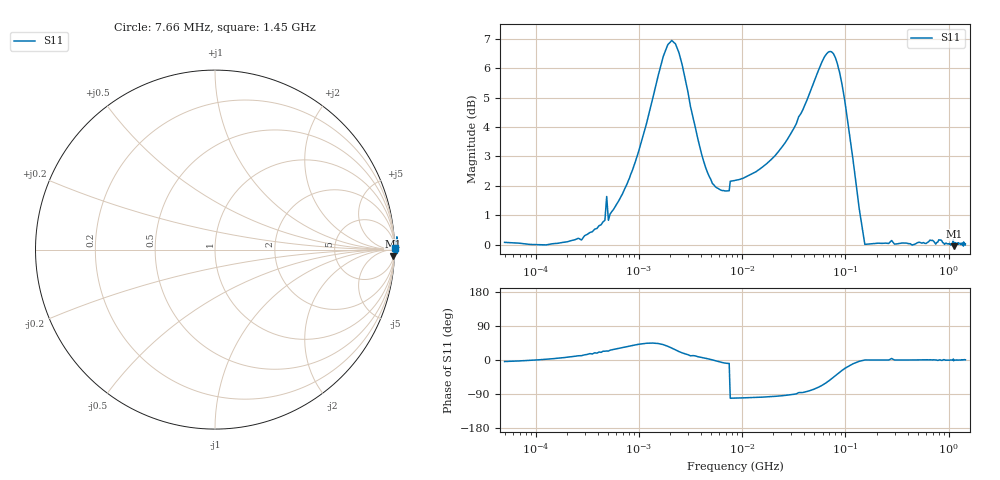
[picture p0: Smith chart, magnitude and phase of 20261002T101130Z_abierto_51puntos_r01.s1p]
! piloto_saltos / abierto_51puntos / r01
# HZ S RI R 50
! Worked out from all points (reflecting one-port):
!   251 points, 50 kHz to 1.45 GHz, reference 50 ohm
!   lowest |S11| = -0.1 dB at 1.117 GHz (marker M1), VSWR 337.44, Z = 465 - j2.76e+03 ohm
!   phase of S11 starts at -4 deg and turns +5 deg over the sweep
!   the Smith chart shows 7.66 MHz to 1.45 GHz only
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50000  1.007 -0.0702
183000  1.003 0.1057
354000  1.012 0.2882
468000  1.011 0.4324
487000  1.105 0.487
506000  1.009 0.439
658000  1.022 0.6294
1180000  1.15 1.117
1720000  1.589 1.356
2080000  1.898 1.158
2440000  1.96 0.8059
3160000  1.684 0.3267
4600000  1.325 0.0806
7480000  1.22 -0.1928
7660000  -0.2404 -1.259
8560000  -0.2344 -1.265
3.16e7  -0.0121 -1.576
4.6e7  0.312 -1.801
6.4e7  1.004 -1.841
7.3e7  1.369 -1.628
8.74e7  1.656 -1.064
9.82e7  1.627 -0.6736
1.18e8  1.378 -0.2452
1.54e8  1.001 0.000745
4.06e8  1.004 0.000329
1.108e9  1.018 0.0482
1.117e9  0.9935 -0.035
1.45e9  1.002 0.0105
